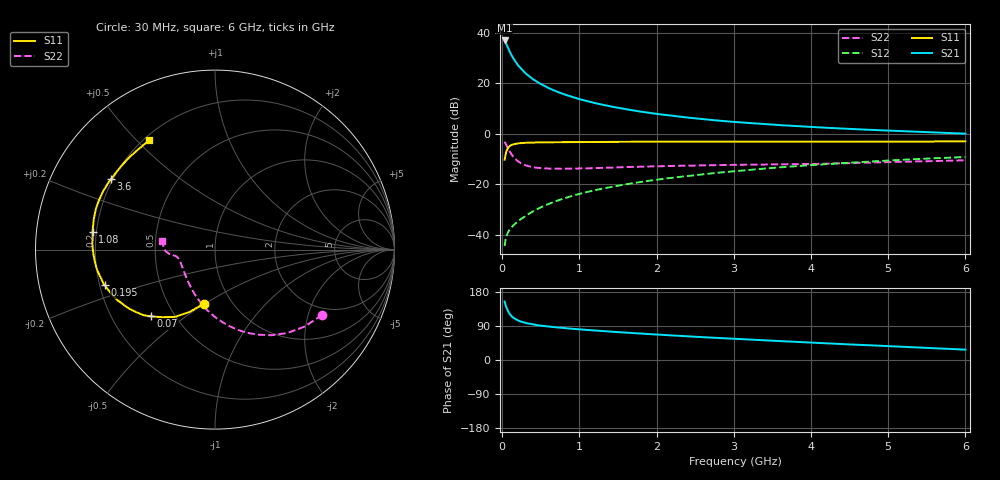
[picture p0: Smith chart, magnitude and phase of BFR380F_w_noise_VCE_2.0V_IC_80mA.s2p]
! Infineon Technologies  Discrete & RF Semiconductors
! BFR380F
! VCE =  2.0 V,  IC =  80 mA
! Common Emitter S-Parameters:  Nov 2015
# GHz  S  MA  R  50
!  f  S11  S21  S12  S22
! GHz  MAG  ANG  MAG  ANG  MAG  ANG  MAG  ANG
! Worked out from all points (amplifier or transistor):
!   206 points, 30 MHz to 6 GHz, reference 50 ohm
!   highest |S21| = 36.9 dB at 30 MHz (marker M1)
!   |S21| within 3 dB of that: start of sweep to 74.95 MHz
!   unconditionally stable (mu >= 1): 466 MHz to 5.383 GHz
!   at 200 MHz: K = 0.79, MSG = 31.0 dB, |S12| = -34.7 dB
!   at 1.56 GHz: K = 1.08, MAG = 13.3 dB, |S12| = -20.2 dB
!   at 6 GHz: K = 1.00, MSG = 4.6 dB, |S12| = -9.2 dB
!   lowest NFmin = 1.95 dB at 450 MHz
!   S11 on the Smith chart (normalised r, x): 30 MHz: 0.75, -0.50; 70 MHz: 0.37, -0.38; 195 MHz: 0.22, -0.15; 1.08 GHz: 0.19, +0.07; 3.6 GHz: 0.19, +0.30; 6 GHz: 0.22, +0.54
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0.03  0.3073 -101.3  70.3 154.1  0.006 72.6  0.6991 -31.4
0.04  0.3748 -112.2  65.69 146.9  0.0077 67.9  0.6582 -40.7
0.05  0.4362 -120.7  60.99 140.3  0.0089 64.6  0.6149 -49.1
0.07  0.5155 -133.8  51.73 130.2  0.011 60.5  0.5323 -63.0
0.09  0.5604 -141.5  44.23 123.3  0.0124 57.6  0.4651 -74.1
0.1  0.5779 -145.0  41.08 120.4  0.013 57.1  0.4374 -78.7
0.12  0.6012 -150.5  35.82 115.7  0.0142 56.7  0.3914 -87.0
0.15  0.6261 -156.2  29.83 110.5  0.0158 57.2  0.3414 -97.1
0.195  0.6458 -162.1  23.73 105.3  0.0182 58.9  0.2937 -108.4
0.24  0.6552 -166.1  19.66 101.7  0.0205 61.3  0.2639 -117.4
0.3  0.6661 -170.0  15.81 97.9  0.0237 64.0  0.2392 -127.3
0.36  0.6707 -172.8  13.3 95.3  0.0271 66.0  0.2254 -134.5
0.45  0.6753 -176.1  10.68 92.0  0.0323 68.4  0.2134 -142.8
0.7  0.6832 178.0  6.907 86.1  0.047 72.0  0.2042 -156.1
1.04  0.6881 172.4  4.681 80.2  0.0673 73.6  0.2069 -164.6
1.08  0.6889 171.9  4.51 79.6  0.0696 73.7  0.2075 -165.2
2.02  0.7013 161.0  2.46 67.0  0.125 72.2  0.2285 -171.6
3.1  0.7022 150.8  1.68 55.1  0.188 68.2  0.2442 -173.4
3.6  0.7001 145.9  1.486 49.9  0.2177 65.9  0.2486 -173.5
4.1  0.6988 140.8  1.343 44.9  0.2464 63.2  0.2545 -174.4
5.1  0.7016 131.2  1.143 35.7  0.3021 57.8  0.2785 -179.4
6  0.7109 121.1  1.008 27.4  0.3481 52.0  0.2991 170.5
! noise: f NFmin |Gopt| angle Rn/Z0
0.45  1.95  0.5  -173  0.08
0.9  1.97  0.53  -170  0.08
1.8  2.31  0.57  -158  0.12
1.9  2.43  0.58  -158  0.12
2.4  2.52  0.58  -149  0.18
3.5  3.31  0.61  -139  0.36
